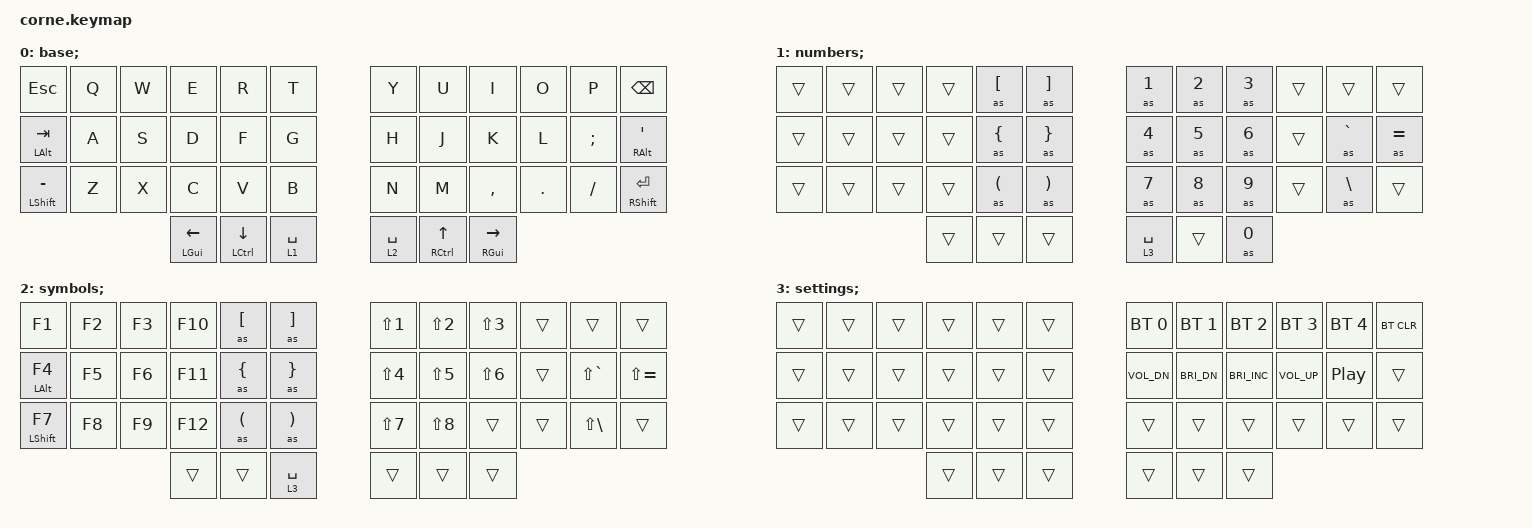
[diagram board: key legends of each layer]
#define HOST_OS 2
#include <behaviors.dtsi>
#include <dt-bindings/zmk/keys.h>
#include <dt-bindings/zmk/bt.h>
#include <dt-bindings/zmk/outputs.h>

#include <zmk-helpers/helper.h> // Requires zmk-helpers module.
#include "zmk-helpers/unicode-chars/german.dtsi"
#include "zmk-helpers/key-labels/42.h"

#define KEYS_L LT0 LT1 LT2 LT3 LT4 LM0 LM1 LM2 LM3 LM4 LB0 LB1 LB2 LB3 LB4
#define KEYS_R RT0 RT1 RT2 RT3 RT4 RM0 RM1 RM2 RM3 RM4 RB0 RB1 RB2 RB3 RB4
#define THUMBS LH2 LH1 LH0 RH0 RH1 RH2 
#define THUMBS_L LH2 LH1 LH0
#define THUMBS_R RH0 RH1 RH2

#define QUICK_TAP_MS 175

/ {
		macros {
			shifted: macro_shifted_kp {
					#binding-cells = <1>;
					label = "MACRO_SHIFTED_KP";
					compatible = "zmk,behavior-macro-one-param";
					bindings =
						<&macro_press &kp LSHFT>,
						<&macro_param_1to1 &macro_tap &kp MACRO_PLACEHOLDER>,
						<&macro_release &kp LSHFT>;
			};
			as: autoshift {
				compatible = "zmk,behavior-macro-one-param";
				#binding-cells = <1>;
				label = "AUTOSHIFT_KP";
				bindings =
					<&macro_press>,
					<&macro_param_1to1>,
					<&macro_param_1to2>,
					<&as_ht MACRO_PLACEHOLDER MACRO_PLACEHOLDER>,
					<&macro_pause_for_release>,
					<&macro_release>,
					<&macro_param_1to1>,
					<&macro_param_1to2>,
					<&as_ht MACRO_PLACEHOLDER MACRO_PLACEHOLDER>;
			};
		};
		combos {
        compatible = "zmk,combos";
        ae {
            timeout-ms = <50>;
            key-positions = <23 13>;
            bindings = <&de_ae>;
        };
        ue {
            timeout-ms = <50>;
            key-positions = <23 7>;
            bindings = <&de_ue>;
        };
        oe {
            timeout-ms = <50>;
            key-positions = <23 9>;
            bindings = <&de_oe>;
        };
        combo_esc {
            timeout-ms = <50>;
            key-positions = <1 2>;
            bindings = <&kp ESC>;
        };


        combo_1 {
            timeout-ms = <50>;
            key-positions = <19 1>;
            bindings = <&kp N1>;
        };

        combo_2 {
            timeout-ms = <50>;
            key-positions = <19 2>;
            bindings = <&kp N2>;
        };
    };
		behaviors {
      skq: sticky_key_quick_release {
        compatible = "zmk,behavior-sticky-key";
        #binding-cells = <1>;
        bindings = <&kp>;
        release-after-ms = <1000>;
        quick-release;
        ignore-modifiers;
      };
			as_ht: autoshift_hold_tap {
				compatible = "zmk,behavior-hold-tap";
				label = "AUTOSHIFT_HOLD_TAP";
				#binding-cells = <2>;
				tapping-term-ms = <135>;
				flavor = "tap-preferred";
				bindings = <&shifted>, <&kp>;
			};
			mt: mod_tap {
				compatible = "zmk,behavior-hold-tap";
				#binding-cells = <2>;
				flavor = "tap-preferred";
				tapping-term-ms = <200>;
				bindings = <&kp>, <&kp>;
				quick-tap-ms = <QUICK_TAP_MS>;
				display-name = "Mod-Tap";
			};
			lt: layer_tap {
				compatible = "zmk,behavior-hold-tap";
				#binding-cells = <2>;
				flavor = "balanced";
				tapping-term-ms = <300>;
				quick-tap-ms = <QUICK_TAP_MS>;
				bindings = <&mo>, <&kp>;
				display-name = "Layer-Tap";
			};
			st: shift_tap {
				compatible = "zmk,behavior-hold-tap";
				#binding-cells = <2>;
				flavor = "hold-preferred";
				quick-tap-ms = <QUICK_TAP_MS>;
				tapping-term-ms = <300>;
				bindings = <&kp>, <&kp>;
				display-name = "Shift-Tap";
			};
			hm: home_row_mod_left {
				compatible = "zmk,behavior-hold-tap";
				#binding-cells = <2>;
				flavor = "balanced";
				quick-tap-ms = <QUICK_TAP_MS>;
				tapping-term-ms = <300>;
				bindings = <&kp>, <&kp>;
			};
		};
		keymap {
			compatible = "zmk,keymap";
			default_layer {
				display-name = "base;";
				bindings = <
//        ┌──────────────┬───┬───┬───────────────┬───────────────┬──────────┐   ┌──────────┬─────────────┬───────────────┬───┬───┬──────────────┐
//        │     esc      │ Q │ W │       E       │       R       │    T     │   │    Y     │      U      │       I       │ O │ P │     bspc     │
//        ├──────────────┼───┼───┼───────────────┼───────────────┼──────────┤   ├──────────┼─────────────┼───────────────┼───┼───┼──────────────┤
//        │ &hm lalt tab │ A │ S │       D       │       F       │    G     │   │    H     │      J      │       K       │ L │ ; │  &hm ralt '  │
//        ├──────────────┼───┼───┼───────────────┼───────────────┼──────────┤   ├──────────┼─────────────┼───────────────┼───┼───┼──────────────┤
//        │  &st lsft -  │ Z │ X │       C       │       V       │    B     │   │    N     │      M      │       ,       │ . │ / │ &st rsft ent │
//        └──────────────┴───┴───┼───────────────┼───────────────┼──────────┤   ├──────────┼─────────────┼───────────────┼───┴───┴──────────────┘
//                               │ &hm lgui left │ &hm lctl down │ lt 1 spc │   │ lt 2 spc │ &hm rctl up │ &hm rgui rght │
//                               └───────────────┴───────────────┴──────────┘   └──────────┴─────────────┴───────────────┘
      &kp ESC           &kp Q   &kp W   &kp E           &kp R            &kp T             &kp Y         &kp U          &kp I            &kp O     &kp P      &kp BSPC
      &hm LALT TAB      &kp A   &kp S   &kp D           &kp F            &kp G             &kp H         &kp J          &kp K            &kp L     &kp SEMI   &hm RALT SQT
      &st LSHFT MINUS   &kp Z   &kp X   &kp C           &kp V            &kp B             &kp N         &kp M          &kp COMMA        &kp DOT   &kp FSLH   &st RSHIFT RET
                                        &hm LGUI LEFT   &hm LCTRL DOWN   &lt 1 SPACE       &lt 2 SPACE   &hm RCTRL UP   &hm RGUI RIGHT
									>;
				};
			lower_layer {
				display-name = "numbers;";
				bindings = <
//        ┌─────┬─────┬─────┬─────┬───────┬───────┐   ┌──────────┬───────┬───────┬─────┬───────┬───────┐
//        │     │     │     │     │ &as [ │ &as ] │   │  &as 1   │ &as 2 │ &as 3 │     │       │       │
//        ├─────┼─────┼─────┼─────┼───────┼───────┤   ├──────────┼───────┼───────┼─────┼───────┼───────┤
//        │     │     │     │     │ &as { │ &as } │   │  &as 4   │ &as 5 │ &as 6 │     │ &as ` │ &as = │
//        ├─────┼─────┼─────┼─────┼───────┼───────┤   ├──────────┼───────┼───────┼─────┼───────┼───────┤
//        │     │     │     │     │ &as ( │ &as ) │   │  &as 7   │ &as 8 │ &as 9 │     │ &as \ │       │
//        └─────┴─────┴─────┼─────┼───────┼───────┤   ├──────────┼───────┼───────┼─────┴───────┴───────┘
//                          │     │       │       │   │ lt 3 spc │       │ &as 0 │
//                          └─────┴───────┴───────┘   └──────────┴───────┴───────┘
      &trans   &trans   &trans   &trans   &as LBKT   &as RBKT       &as N1        &as N2   &as N3   &trans   &trans      &trans
      &trans   &trans   &trans   &trans   &as LBRC   &as RBRC       &as N4        &as N5   &as N6   &trans   &as GRAVE   &as EQUAL
      &trans   &trans   &trans   &trans   &as LPAR   &as RPAR       &as N7        &as N8   &as N9   &trans   &as BSLH    &trans
                                 &trans   &trans     &trans         &lt 3 SPACE   &trans   &as N0
								>;
				};
			raise_layer {
				display-name = "symbols;";
				bindings = <
//        ┌─────────────┬────┬────┬─────┬───────┬──────────┐   ┌─────────┬─────────┬─────────┬─────┬─────────┬─────────┐
//        │     f1      │ f2 │ f3 │ f10 │ &as [ │  &as ]   │   │ lsft(1) │ lsft(2) │ lsft(3) │     │         │         │
//        ├─────────────┼────┼────┼─────┼───────┼──────────┤   ├─────────┼─────────┼─────────┼─────┼─────────┼─────────┤
//        │ &hm lalt f4 │ f5 │ f6 │ f11 │ &as { │  &as }   │   │ lsft(4) │ lsft(5) │ lsft(6) │     │ lsft(`) │ lsft(=) │
//        ├─────────────┼────┼────┼─────┼───────┼──────────┤   ├─────────┼─────────┼─────────┼─────┼─────────┼─────────┤
//        │ &st lsft f7 │ f8 │ f9 │ f12 │ &as ( │  &as )   │   │ lsft(7) │ lsft(8) │         │     │ lsft(\) │         │
//        └─────────────┴────┴────┼─────┼───────┼──────────┤   ├─────────┼─────────┼─────────┼─────┴─────────┴─────────┘
//                                │     │       │ lt 3 spc │   │         │         │         │
//                                └─────┴───────┴──────────┘   └─────────┴─────────┴─────────┘
      &kp F1         &kp F2   &kp F3   &kp F10   &as LBKT   &as RBKT          &kp LS(N1)   &kp LS(N2)   &kp LS(N3)   &trans   &trans          &trans
      &hm LALT F4    &kp F5   &kp F6   &kp F11   &as LBRC   &as RBRC          &kp LS(N4)   &kp LS(N5)   &kp LS(N6)   &trans   &kp LS(GRAVE)   &kp LS(EQUAL)
      &st LSHFT F7   &kp F8   &kp F9   &kp F12   &as LPAR   &as RPAR          &kp LS(N7)   &kp LS(N8)   &trans       &trans   &kp LS(BSLH)    &trans
                                       &trans    &trans     &lt 3 SPACE       &trans       &trans       &trans
								>;
				};
			extra_1 {
				display-name = "settings;";
				bindings = <
//        ┌─────┬─────┬─────┬─────┬─────┬─────┐   ┌──────────┬──────────┬──────────┬──────────┬──────────┬────────┐
//        │     │     │     │     │     │     │   │ bt_sel 0 │ bt_sel 1 │ bt_sel 2 │ bt_sel 3 │ bt_sel 4 │ bt_clr │
//        ├─────┼─────┼─────┼─────┼─────┼─────┤   ├──────────┼──────────┼──────────┼──────────┼──────────┼────────┤
//        │     │     │     │     │     │     │   │   vold   │   bri-   │   bri+   │   volu   │   play   │        │
//        ├─────┼─────┼─────┼─────┼─────┼─────┤   ├──────────┼──────────┼──────────┼──────────┼──────────┼────────┤
//        │     │     │     │     │     │     │   │          │          │          │          │          │        │
//        └─────┴─────┴─────┼─────┼─────┼─────┤   ├──────────┼──────────┼──────────┼──────────┴──────────┴────────┘
//                          │     │     │     │   │          │          │          │
//                          └─────┴─────┴─────┘   └──────────┴──────────┴──────────┘
      &trans   &trans   &trans   &trans   &trans   &trans       &bt BT_SEL 0   &bt BT_SEL 1   &bt BT_SEL 2    &bt BT_SEL 3   &bt BT_SEL 4   &bt BT_CLR
      &trans   &trans   &trans   &trans   &trans   &trans       &kp C_VOL_DN   &kp C_BRI_DN   &kp C_BRI_INC   &kp C_VOL_UP   &kp C_PP       &trans
      &trans   &trans   &trans   &trans   &trans   &trans       &trans         &trans         &trans          &trans         &trans         &trans
                                 &trans   &trans   &trans       &trans         &trans         &trans
								>;
				
			};
			extra_2 {
					status = "reserved";
				};
			extra_3 {
					status = "reserved";
				};
		};
};
